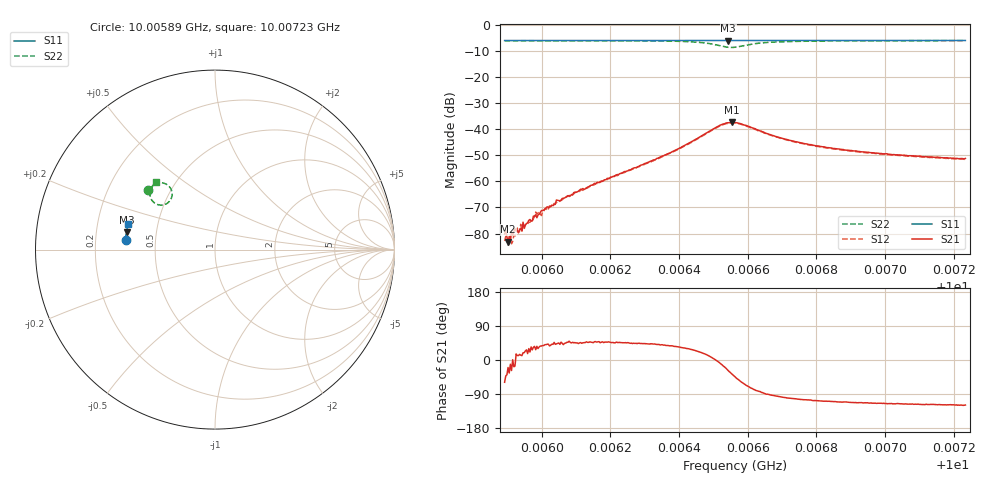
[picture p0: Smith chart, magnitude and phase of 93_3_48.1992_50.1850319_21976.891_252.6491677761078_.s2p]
#  HZ  S  RI  R  50.00
! Rohde & Schwarz Vector Network Analyzer
! Rohde-Schwarz,ZNB20-2Port,1311601062101988,3.16
! Created: UTC 3/20/2024, 11:40:11 AM
! freq[Hz]  re:S11  im:S11  re:S21  im:S21  re:S12  im:S12  re:S22  im:S22
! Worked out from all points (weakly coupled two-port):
!   401 points, 10.00589 GHz to 10.00723 GHz, reference 50 ohm
!   highest |S21| = -37.39 dB at 10.00655 GHz (marker M1); lowest = -83.1 dB at 10.0059 GHz (marker M2)
!   lowest |S11| = -6.0 dB at 10.00654 GHz (marker M3), VSWR 3.01, Z = 16.8 + j4.35 ohm
!   |S11| at or under -10 dB: nowhere
!   |S22| runs from -8.6 to -6.0 dB; largest |S21 - S12| = 0.00088
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1.0005892e10  -0.4982 0.0556  5.09e-05 -8.38e-05  4.91e-05 -5.26e-05  -0.3722 0.3313
1.0005902e10  -0.4981 0.0562  6.61e-05 -2.39e-05  4.85e-05 -3.06e-05  -0.3715 0.3318
1.0005919e10  -0.4981 0.0574  0.000103 -3.31e-05  9.07e-05 -1.55e-05  -0.3707 0.333
1.0005936e10  -0.498 0.0584  0.000115 3.07e-05  0.000109 2.4e-05  -0.3696 0.334
1.0005969e10  -0.4977 0.0607  0.000142 9.83e-05  0.000146 9.84e-05  -0.3677 0.3361
1.0005986e10  -0.4977 0.0617  0.000163 0.000119  0.000172 0.000161  -0.3666 0.3375
1.0005999e10  -0.4976 0.0625  0.000221 0.000166  0.00016 0.000154  -0.3658 0.3383
1.0006016e10  -0.4975 0.0637  0.000244 0.000217  0.000232 0.000222  -0.3648 0.3394
1.0006033e10  -0.4974 0.0648  0.000257 0.000226  0.000247 0.000249  -0.3636 0.3406
1.000605e10  -0.4972 0.0659  0.000305 0.000303  0.000273 0.000291  -0.3625 0.3417
1.0006117e10  -0.4968 0.0703  0.000511 0.000494  0.000464 0.000506  -0.3575 0.3466
1.0006341e10  -0.4948 0.0847  0.00215 0.00187  0.00202 0.00189  -0.3292 0.3662
1.0006472e10  -0.493 0.0935  0.00757 0.00231  0.00726 0.0026  -0.2713 0.3644
1.0006519e10  -0.4921 0.0962  0.0118 -0.00177  0.0115 -0.00118  -0.2394 0.3189
1.0006543e10  -0.4916 0.0973  0.0118 -0.00614  0.0119 -0.00538  -0.2469 0.2789
1.0006553e10  -0.4916 0.0975  0.0109 -0.00797  0.011 -0.00716  -0.2588 0.2641
1.0006563e10  -0.4916 0.0981  0.00962 -0.00934  0.01 -0.00876  -0.2741 0.2538
1.0006637e10  -0.4917 0.1025  0.00107 -0.00923  0.00129 -0.009  -0.3536 0.2782
1.0006704e10  -0.4911 0.107  -0.000998 -0.00653  -0.000653 -0.00645  -0.3624 0.3106
1.0006787e10  -0.4903 0.1126  -0.00143 -0.00476  -0.00116 -0.00477  -0.3588 0.3323
1.0007012e10  -0.4873 0.1269  -0.0014 -0.00301  -0.00124 -0.00299  -0.3441 0.3592
1.0007234e10  -0.4838 0.1407  -0.00133 -0.00241  -0.00118 -0.00238  -0.3314 0.3746
